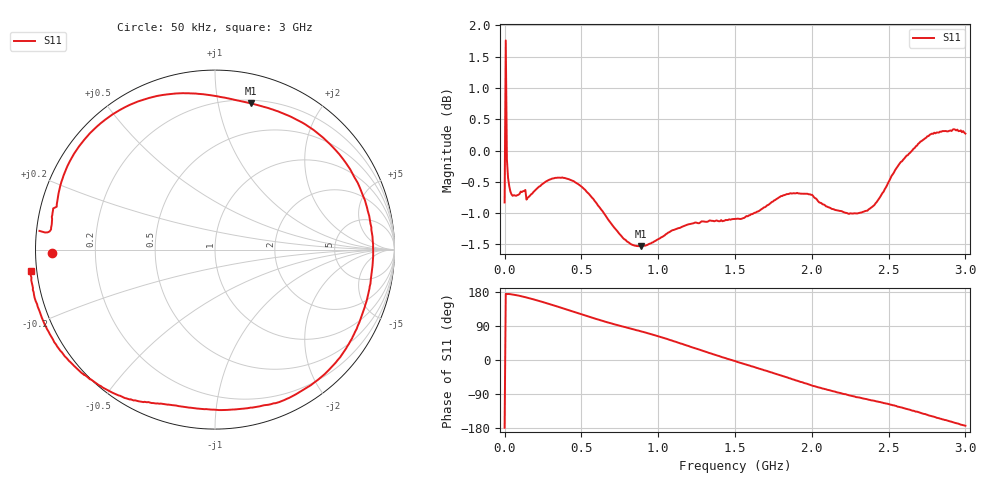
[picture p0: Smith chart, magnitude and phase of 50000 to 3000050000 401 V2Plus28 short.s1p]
! NanoVNA-App
! Date: 2020-11-14 10:24:41
! Start: 50kHz Stop: 3.0001GHz Points: 401
! S-Parameter data: F S11
# Hz S RI R 50
!  Frequency  S11 Real  S11 Imag
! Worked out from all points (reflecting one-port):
!   401 points, 50 kHz to 3 GHz, reference 50 ohm
!   lowest |S11| = -1.5 dB at 885 MHz (marker M1), VSWR 11.40, Z = 11.4 + j62.6 ohm
!   phase of S11 starts at -179 deg and turns -355 deg over the sweep
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50000  -0.9087 -0.0186
2.255e7  -0.9462 0.0952
3.005e7  -0.9321 0.0962
4.505e7  -0.9163 0.1081
1.2755e8  -0.9029 0.217
2.5505e8  -0.833 0.4397
3.7505e8  -0.6964 0.6488
4.7255e8  -0.5304 0.7778
5.5505e8  -0.368 0.8447
6.3755e8  -0.2068 0.8704
7.5005e8  -0.00646 0.8572
8.8505e8  0.2016 0.8142
1.01255e9  0.4094 0.7462
1.12505e9  0.597 0.628
1.22255e9  0.7294 0.4825
1.32005e9  0.8224 0.3055
1.50005e9  0.8811 -0.0388
1.69505e9  0.7987 -0.4172
1.78505e9  0.7102 -0.5805
1.87505e9  0.5813 -0.7185
2.01755e9  0.3284 -0.856
2.25005e9  -0.0598 -0.8891
2.50505e9  -0.4258 -0.845
2.62505e9  -0.637 -0.7599
2.70005e9  -0.7587 -0.673
2.82005e9  -0.9202 -0.4713
2.93255e9  -1.008 -0.2522
3.00005e9  -1.025 -0.1194
